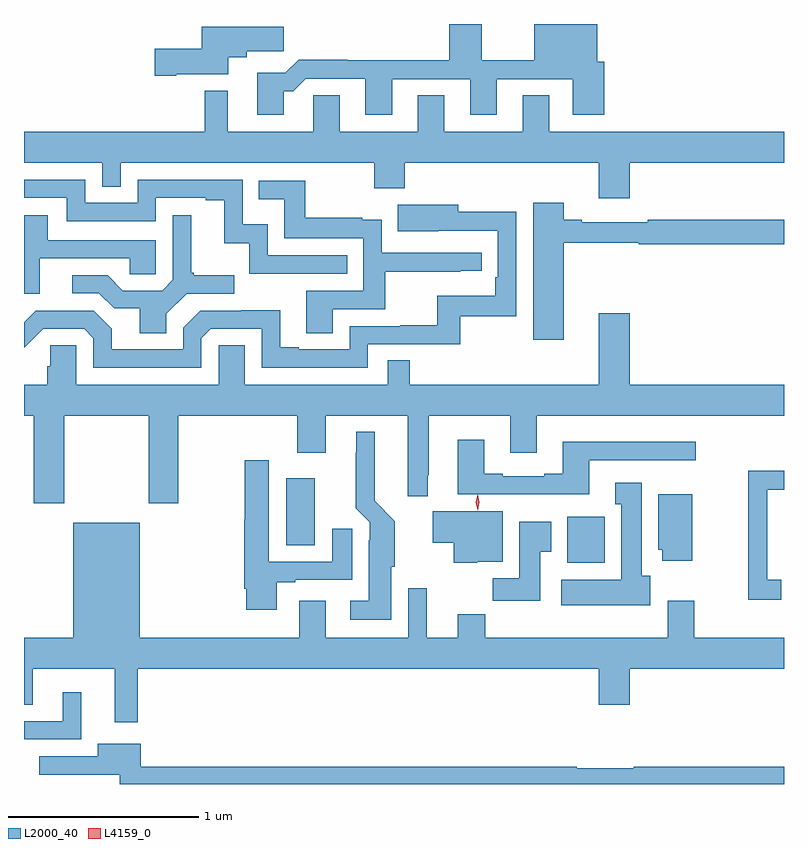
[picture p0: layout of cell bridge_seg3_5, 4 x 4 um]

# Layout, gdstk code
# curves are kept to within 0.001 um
import gdstk
lib = gdstk.Library(unit=1e-6, precision=1e-09)
def R(c, l, rs):  # rectangles x0, y0, x1, y1
    for r in rs: c.add(gdstk.rectangle(r[:2], r[2:], *l))
def P(c, l, *ps):  # polygons
    for p in ps: c.add(gdstk.Polygon(p, *l))
L2000_40 = (2000, 40)
L4159_0 = (4159, 0)

bridge_seg3_5 = lib.new_cell('bridge_seg3_5')
R(bridge_seg3_5, L2000_40, [(932.075,716.126,932.272,716.368), (930.596,716.218,930.745,716.572)])
P(bridge_seg3_5, L2000_40, [(930.583,718.607),(930.632,718.607),(930.699,718.674),(931.013,718.674),(931.013,718.485),(931.153,718.485),(931.153,718.671),(931.565,718.671),(931.565,718.485),(931.705,718.485),(931.705,718.671),(932.105,718.671),(932.105,718.485),(932.27,718.485),(932.27,718.764),(932.233,718.764),(932.233,718.962),(931.901,718.962),(931.901,718.772),(931.624,718.772),(931.624,718.962),(931.454,718.962),(931.454,718.772),(930.917,718.772),(930.917,718.775),(930.662,718.775),(930.592,718.705),(930.443,718.705),(930.443,718.485),(930.583,718.485)],
  [(930.016,718.697),(930.292,718.697),(930.292,718.787),(930.388,718.787),(930.388,718.819),(930.583,718.819),(930.583,718.948),(930.152,718.948),(930.152,718.832),(929.904,718.832),(929.904,718.69),(930.016,718.69)],
  [(932.404,718.232),(933.216,718.232),(933.216,718.396),(931.981,718.396),(931.981,718.586),(931.841,718.586),(931.841,718.396),(931.429,718.396),(931.429,718.586),(931.289,718.586),(931.289,718.396),(930.877,718.396),(930.877,718.586),(930.738,718.586),(930.738,718.396),(930.289,718.396),(930.289,718.612),(930.168,718.612),(930.168,718.396),(929.216,718.396),(929.216,718.232),(929.628,718.232),(929.628,718.105),(929.724,718.105),(929.724,718.232),(931.06,718.232),(931.06,718.097),(931.22,718.097),(931.22,718.232),(932.24,718.232),(932.24,718.044),(932.404,718.044)],
  [(930.917,717.744),(930.498,717.744),(930.498,717.907),(930.366,717.907),(930.366,718.143),(929.814,718.143),(929.814,718.02),(929.538,718.02),(929.538,718.143),(929.216,718.143),(929.216,718.047),(929.442,718.047),(929.442,717.924),(929.91,717.924),(929.91,718.047),(930.173,718.047),(930.173,718.035),(930.269,718.035),(930.269,717.809),(930.402,717.809),(930.402,717.648),(930.917,717.648)],
  [(930.841,717.462),(931.118,717.462),(931.118,717.658),(931.511,717.658),(931.511,717.663),(931.624,717.663),(931.624,717.759),(931.098,717.759),(931.098,717.931),(930.995,717.931),(930.995,717.943),(930.697,717.943),(930.697,718.137),(930.451,718.137),(930.451,718.04),(930.586,718.04),(930.586,717.834),(931.002,717.834),(931.002,717.558),(930.701,717.558),(930.701,717.334),(930.841,717.334)],
  [(932.056,717.81),(932.452,717.81),(932.452,717.802),(933.216,717.802),(933.216,717.931),(932.5,717.931),(932.5,717.918),(932.152,717.918),(932.152,717.931),(932.056,717.931),(932.056,718.021),(931.895,718.021),(931.895,717.3),(932.056,717.3)],
  [(930.15,717.309),(930.198,717.357),(930.468,717.357),(930.468,717.153),(931.026,717.153),(931.026,717.276),(931.513,717.276),(931.513,717.423),(931.806,717.423),(931.806,717.974),(931.501,717.974),(931.501,718.012),(931.183,718.012),(931.183,717.872),(931.71,717.873),(931.71,717.628),(931.697,717.628),(931.697,717.532),(931.392,717.532),(931.392,717.377),(931.195,717.377),(931.195,717.372),(930.93,717.372),(930.93,717.249),(930.661,717.249),(930.661,717.262),(930.565,717.262),(930.565,717.455),(930.36,717.455),(930.36,717.453),(930.144,717.453),(930.054,717.363),(930.054,717.249),(929.677,717.249),(929.677,717.359),(929.583,717.453),(929.277,717.453),(929.216,717.392),(929.216,717.257),(929.316,717.357),(929.532,717.357),(929.58,717.309),(929.58,717.153),(930.15,717.153)],
  [(929.965,717.436),(930.072,717.543),(930.322,717.543),(930.322,717.64),(930.109,717.64),(930.109,717.652),(930.097,717.652),(930.097,717.955),(930,717.955),(930,717.615),(929.943,717.558),(929.737,717.558),(929.656,717.639),(929.469,717.639),(929.469,717.546),(929.61,717.546),(929.69,717.466),(929.825,717.466),(929.825,717.334),(929.965,717.334)],
  [(929.299,717.729),(929.773,717.729),(929.773,717.645),(929.91,717.645),(929.91,717.825),(929.341,717.825),(929.341,717.955),(929.216,717.955),(929.216,717.543),(929.299,717.543)],
  [(931.235,716.476),(931.342,716.476),(931.342,716.587),(931.345,716.587),(931.345,716.9),(931.775,716.9),(931.775,716.706),(931.915,716.706),(931.915,716.9),(933.216,716.9),(933.216,717.064),(932.404,717.064),(932.404,717.439),(932.24,717.439),(932.24,717.064),(931.247,717.064),(931.247,717.191),(931.131,717.191),(931.131,717.064),(930.379,717.064),(930.379,717.272),(930.24,717.272),(930.24,717.064),(929.49,717.064),(929.49,717.272),(929.353,717.272),(929.353,717.162),(929.339,717.162),(929.339,717.064),(929.216,717.064),(929.216,716.9),(929.267,716.9),(929.267,716.439),(929.427,716.439),(929.427,716.9),(929.872,716.9),(929.872,716.439),(930.027,716.439),(930.027,716.9),(930.653,716.9),(930.653,716.706),(930.805,716.706),(930.805,716.9),(931.235,716.9)],
  [(931.15,716.106),(931.168,716.106),(931.168,716.346),(931.063,716.452),(931.063,716.815),(930.965,716.815),(930.965,716.705),(930.961,716.705),(930.961,716.414),(931.035,716.34),(931.035,716.246),(931.031,716.246),(931.031,715.927),(930.933,715.927),(930.933,715.826),(931.15,715.826)],
  [(932.191,716.667),(932.752,716.667),(932.752,716.764),(932.051,716.764),(932.051,716.596),(931.955,716.596),(931.955,716.583),(931.735,716.583),(931.735,716.596),(931.639,716.596),(931.639,716.773),(931.499,716.773),(931.499,716.487),(931.827,716.487),(931.827,716.486),(932.191,716.486)],
  [(930.547,716.025),(930.643,716.025),(930.643,716.037),(930.943,716.037),(930.943,716.305),(930.839,716.305),(930.839,716.133),(930.505,716.133),(930.505,716.665),(930.379,716.665),(930.379,716.352),(930.374,716.352),(930.374,715.99),(930.386,715.99),(930.386,715.878),(930.547,715.878)],
  [(933.202,716.037),(933.129,716.037),(933.129,716.511),(933.216,716.511),(933.216,716.612),(933.028,716.612),(933.028,715.932),(933.202,715.932)],
  [(932.512,716.058),(932.467,716.058),(932.467,716.548),(932.327,716.548),(932.327,716.435),(932.36,716.435),(932.36,716.038),(932.043,716.038),(932.043,715.904),(932.512,715.904)],
  [(932.734,716.488),(932.555,716.488),(932.555,716.196),(932.576,716.196),(932.576,716.136),(932.734,716.136)],
  [(931.602,716.132),(931.735,716.132),(931.735,716.398),(931.366,716.398),(931.366,716.233),(931.477,716.233),(931.477,716.126),(931.602,716.126)],
  [(931.933,716.185),(931.99,716.185),(931.99,716.341),(931.823,716.341),(931.823,716.044),(931.684,716.044),(931.684,715.926),(931.933,715.926)],
  [(929.815,715.568),(932.24,715.568),(932.24,715.38),(932.404,715.38),(932.404,715.568),(933.216,715.568),(933.216,715.732),(932.743,715.732),(932.743,715.927),(932.603,715.927),(932.603,715.732),(931.643,715.732),(931.643,715.856),(931.499,715.856),(931.499,715.732),(931.336,715.732),(931.336,715.993),(931.239,715.993),(931.239,715.732),(930.805,715.732),(930.805,715.927),(930.665,715.927),(930.665,715.732),(929.824,715.732),(929.824,716.338),(929.474,716.338),(929.474,715.732),(929.216,715.732),(929.216,715.378),(929.263,715.378),(929.263,715.568),(929.693,715.568),(929.693,715.287),(929.815,715.287)],
  [(929.518,715.444),(929.42,715.444),(929.42,715.293),(929.216,715.293),(929.216,715.197),(929.518,715.197)],
  [(933.216,715.052),(932.426,715.052),(932.426,715.045),(932.126,715.045),(932.126,715.052),(929.83,715.052),(929.83,715.174),(929.603,715.174),(929.603,715.107),(929.295,715.107),(929.295,715.011),(929.72,715.011),(929.72,714.962),(933.216,714.962)])
P(bridge_seg3_5, L4159_0, [(931.603,716.404),(931.603,716.404),(931.593,716.445),(931.603,716.486),(931.603,716.486),(931.603,716.486),(931.613,716.445),(931.603,716.404)])

lib.write_gds('bridge_seg3_5.gds')
